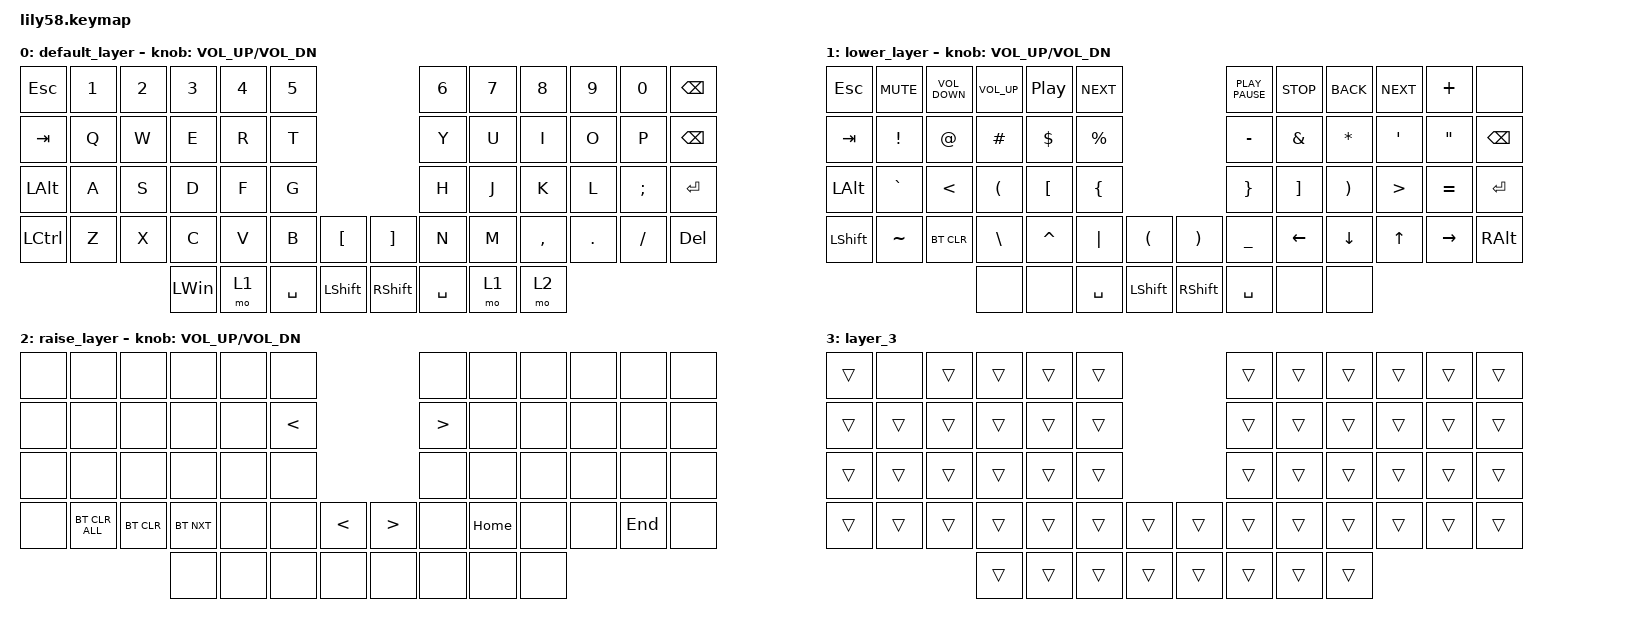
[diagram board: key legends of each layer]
/*
 * Copyright (c) 2020 The ZMK Contributors
 *
 * SPDX-License-Identifier: MIT
 */

#include <behaviors.dtsi>
#include <dt-bindings/zmk/bt.h>
#include <dt-bindings/zmk/keys.h>

/ {
    combos {
        compatible = "zmk,combos";

        End_Combo {
            bindings = <&kp END>;
            key-positions = <33 34 32>;
        };

        Home_Combo {
            bindings = <&kp HOME>;
            key-positions = <25 26 27>;
        };

        clear_bt_profiles {
            bindings = <&bt BT_CLR_ALL>;
            key-positions = <37 38 39 40>;
        };

        caps_combo {
            bindings = <&kp CAPS>;
            key-positions = <24 25>;
        };
    };

    keymap {
        compatible = "zmk,keymap";

        default_layer {
            // ------------------------------------------------------------------------------------------------------------
            // |  ESC  |  1  |  2  |  3   |  4   |  5   |                   |  6   |  7    |  8    |  9   |   0   |   `   |
            // |  TAB  |  Q  |  W  |  E   |  R   |  T   |                   |  Y   |  U    |  I    |  O   |   P   |   -   |
            // |  CTRL |  A  |  S  |  D   |  F   |  G   |                   |  H   |  J    |  K    |  L   |   ;   |   '   |
            // | SHIFT |  Z  |  X  |  C   |  V   |  B   |   "["  |  |  "]"  |  N   |  M    |  ,    |  .   |   /   | SHIFT |
            //                     | ALT  | GUI  | LOWER|  SPACE |  | ENTER | RAISE| BSPC  | GUI   |

            bindings = <
&kp ESC           &kp N1  &kp N2  &kp N3        &kp N4  &kp N5                                        &kp N6     &kp N7  &kp N8     &kp N9   &kp N0    &kp BACKSPACE
&kp TAB           &kp Q   &kp W   &kp E         &kp R   &kp T                                         &kp Y      &kp U   &kp I      &kp O    &kp P     &kp BACKSPACE
&kp LEFT_ALT      &kp A   &kp S   &kp D         &kp F   &kp G                                         &kp H      &kp J   &kp K      &kp L    &kp SEMI  &kp ENTER
&kp LEFT_CONTROL  &kp Z   &kp X   &kp C         &kp V   &kp B      &kp LBKT          &kp RBKT         &kp N      &kp M   &kp COMMA  &kp DOT  &kp FSLH  &kp DELETE
                                  &kp LEFT_WIN  &mo 1   &kp SPACE  &kp LEFT_SHIFT    &kp RIGHT_SHIFT  &kp SPACE  &mo 1   &mo 2
            >;

            sensor-bindings = <&inc_dec_kp C_VOL_UP C_VOL_DN>;
        };

        lower_layer {
            // ------------------------------------------------------------------------------------------------------------
            // | BTCLR | BT1 | BT2 |  BT3 |  BT4 |  BT5 |                   |      |       |       |      |       |       |
            // |  F1   |  F2 |  F3 |  F4  |  F5  |  F6  |                   |  F7  |  F8   |  F9   |  F10 |  F11  |  F12  |
            // |   `   |  !  |  @  |  #   |  $   |  %   |                   |  ^   |  &    |  *    |  (   |   )   |   ~   |
            // |       |     |     |      |      |      |        |  |       |      |  _    |  +    |  {   |   }   |  "|"  |
            //                     |      |      |      |        |  |       |      |       |       |

            bindings = <
&kp ESCAPE      &kp K_MUTE       &kp C_VOLUME_DOWN  &kp C_VOLUME_UP       &kp C_PLAY_PAUSE  &kp K_NEXT                                                     &kp K_PLAY_PAUSE  &kp K_STOP         &kp K_BACK             &kp K_NEXT        &kp PLUS           &none
&kp TAB         &kp EXCLAMATION  &kp AT_SIGN        &kp HASH              &kp DOLLAR        &kp PERCENT                                                    &kp MINUS         &kp AMPERSAND      &kp ASTERISK           &kp SINGLE_QUOTE  &kp DOUBLE_QUOTES  &kp BACKSPACE
&kp LEFT_ALT    &kp GRAVE        &kp LESS_THAN      &kp LEFT_PARENTHESIS  &kp LEFT_BRACKET  &kp LEFT_BRACE                                                 &kp RIGHT_BRACE   &kp RIGHT_BRACKET  &kp RIGHT_PARENTHESIS  &kp GREATER_THAN  &kp EQUAL          &kp ENTER
&kp LEFT_SHIFT  &kp TILDE        &bt BT_CLR         &kp BSLH              &kp CARET         &kp PIPE        &kp LEFT_PARENTHESIS    &kp RIGHT_PARENTHESIS  &kp UNDER         &kp LEFT           &kp DOWN_ARROW         &kp UP_ARROW      &kp RIGHT_ARROW    &kp RIGHT_ALT
                                                    &none                 &none             &kp SPACE       &kp LEFT_SHIFT          &kp RIGHT_SHIFT        &kp SPACE         &none              &none
            >;

            sensor-bindings = <&inc_dec_kp C_VOL_UP C_VOL_DN>;
        };

        raise_layer {
            // ------------------------------------------------------------------------------------------------------------
            // |       |     |     |      |      |      |                   |      |       |       |      |       |       |
            // |   `   |  1  |  2  |  3   |  4   |  5   |                   |  6   |   7   |   8   |  9   |   0   |       |
            // |   F1  |  F2 |  F3 |  F4  |  F5  |  F6  |                   |      |   <-  |   v   |  ^   |  ->   |       |
            // |   F7  |  F8 |  F9 |  F10 |  F11 |  F12 |        |  |       |  +   |   -   |   =   |  [   |   ]   |   \   |
            //                     |      |      |      |        |  |       |      |       |       |

            bindings = <
&none  &none           &none       &none       &none  &none                                             &none             &none     &none  &none  &none    &none
&none  &none           &none       &none       &none  &kp LESS_THAN                                     &kp GREATER_THAN  &none     &none  &none  &none    &none
&none  &none           &none       &none       &none  &none                                             &none             &none     &none  &none  &none    &none
&none  &bt BT_CLR_ALL  &bt BT_CLR  &bt BT_NXT  &none  &none          &kp LESS_THAN    &kp GREATER_THAN  &none             &kp HOME  &none  &none  &kp END  &none
                                   &none       &none  &none          &none            &none             &none             &none     &none
            >;

            sensor-bindings = <&inc_dec_kp C_VOL_UP C_VOL_DN>;
        };

        layer_3 {
            bindings = <
&trans  &none   &trans  &trans  &trans  &trans                    &trans  &trans  &trans  &trans  &trans  &trans
&trans  &trans  &trans  &trans  &trans  &trans                    &trans  &trans  &trans  &trans  &trans  &trans
&trans  &trans  &trans  &trans  &trans  &trans                    &trans  &trans  &trans  &trans  &trans  &trans
&trans  &trans  &trans  &trans  &trans  &trans  &trans    &trans  &trans  &trans  &trans  &trans  &trans  &trans
                        &trans  &trans  &trans  &trans    &trans  &trans  &trans  &trans
            >;
        };
    };
};
